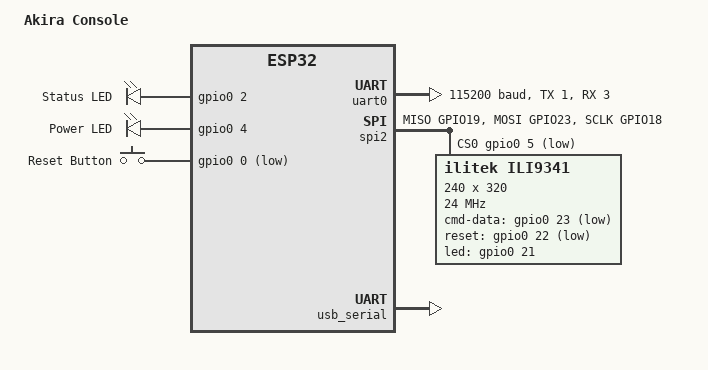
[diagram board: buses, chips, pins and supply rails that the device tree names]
/dts-v1/;
#include <espressif/esp32.dtsi>

/ {
	model = "Akira Console";
	compatible = "akira,akira-console";

	chosen {
		zephyr,sram = &sram0;
		zephyr,console = &uart0;
		zephyr,shell-uart = &uart0;
		zephyr,flash = &flash0;
		zephyr,code-partition = &slot0_partition;
		zephyr,uart-mcumgr = &uart0;
		zephyr,filesystem = &lfs1;  // Ensure filesystem auto-mount links properly
	};

	aliases {
		status-led = &led0;
		power-led = &led1;
		display = &ili9341;
		lfs1 = &user_data_partition;
	};

	leds {
		compatible = "gpio-leds";
		led0: led_0 {
			gpios = <&gpio0 2 GPIO_ACTIVE_HIGH>;
			label = "Status LED";
		};
		led1: led_1 {
			gpios = <&gpio0 4 GPIO_ACTIVE_HIGH>;
			label = "Power LED";
		};
	};

	buttons {
		compatible = "gpio-keys";
		reset: reset {
			gpios = <&gpio0 0 (GPIO_PULL_UP | GPIO_ACTIVE_LOW)>;
			label = "Reset Button";
		};
	};
};

&uart0 {
	status = "okay";
	current-speed = <115200>;
	tx-pin = <1>;
	rx-pin = <3>;
};

&gpio0 {
	status = "okay";
};

&spi2 {
	status = "okay";
	cs-gpios = <&gpio0 5 GPIO_ACTIVE_LOW>;
	pinctrl-0 = <&spim2_default>;
	pinctrl-names = "default";

	ili9341: ili9341@0 {
    	compatible = "ilitek,ili9341";
    	reg = <0>;
    	spi-max-frequency = <24000000>;
    	cmd-data-gpios = <&gpio0 23 GPIO_ACTIVE_LOW>;
    	reset-gpios = <&gpio0 22 GPIO_ACTIVE_LOW>;
    	led-gpios = <&gpio0 21 GPIO_ACTIVE_HIGH>;  
    	width = <240>;
    	height = <320>;
    	rotation = <0>;
    	pixel-format = <0x05>;
	};
};

&usb_serial {
	status = "okay";
};

&flash0 {
	partitions {
		compatible = "fixed-partitions";
		#address-cells = <1>;
		#size-cells = <1>;

		boot_partition: partition@1000 {
			label = "bootloader";
			reg = <0x00001000 0x0000F000>;
			read-only;
		};

		nvs_partition: partition@10000 {
			label = "nvs";
			reg = <0x00010000 0x00006000>;
		};

		otadata_partition: partition@16000 {
			label = "otadata";
			reg = <0x00016000 0x00002000>;
		};

		slot0_partition: partition@1E000 {
			label = "image-0";
			reg = <0x0001E000 0x000E2000>;
		};

		storage_partition: partition@100000 {
			label = "storage";
			reg = <0x00100000 0x00010000>;
		};

		user_data_partition: partition@110000 {
			label = "user-data";
			reg = <0x00110000 0x00030000>;
			compatible = "zephyr,flash-disk";
		};
	};
};

&pinctrl {
	spim2_default: spim2_default {
		group1 {
			pinmux = <SPIM2_MISO_GPIO19>,
					 <SPIM2_MOSI_GPIO23>,
					 <SPIM2_SCLK_GPIO18>;
			output-low;
		};
	};
};
